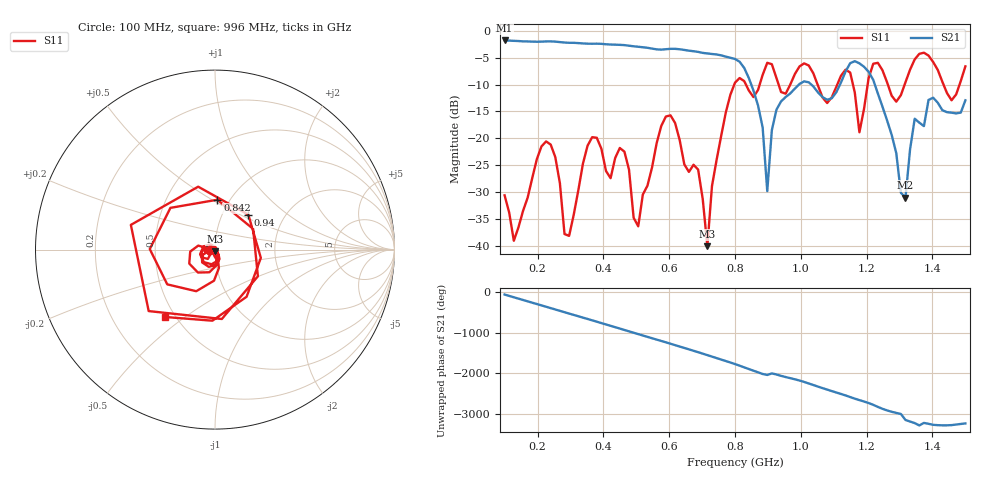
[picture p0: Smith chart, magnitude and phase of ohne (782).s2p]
! NanoVNA-App
! Date: 2025-09-25 14:26:53
! Start: 100MHz Stop: 1,5GHz Points: 101
! S-Parameter data: F S11 S21 S12 S22
# Hz S RI R 50
!  Frequency  S11_Real  S11_Imag  S21_Real  S21_Imag  S12_Real  S12_Imag  S22_Real  S22_Imag
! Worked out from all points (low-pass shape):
!   101 points, 100 MHz to 1.5 GHz, reference 50 ohm
!   highest |S21| = -1.79 dB at 100 MHz (marker M1); lowest = -31.0 dB at 1.318 GHz (marker M2)
!   |S21| within 3 dB of the highest: start of sweep to 771.3 MHz
!   lowest |S11| = -40.1 dB at 716 MHz (marker M3), VSWR 1.02, Z = 49.8 - j0.965 ohm
!   |S11| at or under -10 dB: start of sweep to 797.8 MHz; 833.1 MHz to 875.1 MHz (41.98 MHz wide, 4.92 % of centre); 1.051 GHz to 1.111 GHz (59.97 MHz wide, 5.55 % of centre) (the widest 3 of 7)
!   S12 and S22 are empty: the file has one direction only
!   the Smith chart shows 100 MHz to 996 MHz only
!   S11 on the Smith chart (normalised r, x): 100 MHz: 0.94, -0.01; 842 MHz: 0.88, +0.53; 940 MHz: 1.32, +0.56; 996 MHz: 0.44, -0.42
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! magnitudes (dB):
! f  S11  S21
! 100 MHz  -30.6  -1.8
! 128 MHz  -39.1  -1.9
! 226 MHz  -20.6  -2.0
! 296 MHz  -38.2  -2.2
! 338 MHz  -24.7  -2.3
! 464 MHz  -22.5  -2.7
! 506 MHz  -36.4  -3.0
! 576 MHz  -17.7  -3.5
! 688 MHz  -25.8  -3.9
! 716 MHz  -40.1  -4.2
! 800 MHz  -9.7  -5.2
! 842 MHz  -11.1  -8.8
! 898 MHz  -6.0  -29.8
! 940 MHz  -11.4  -13.1
! 996 MHz  -6.6  -9.9
! 1.038 GHz  -7.9  -10.3
! 1.178 GHz  -18.9  -6.1
! 1.22 GHz  -6.1  -9.1
! 1.276 GHz  -12.1  -19.4
! 1.318 GHz  -9.6  -31.0
! 1.346 GHz  -5.3  -16.4
! 1.5 GHz  -6.6  -12.9
